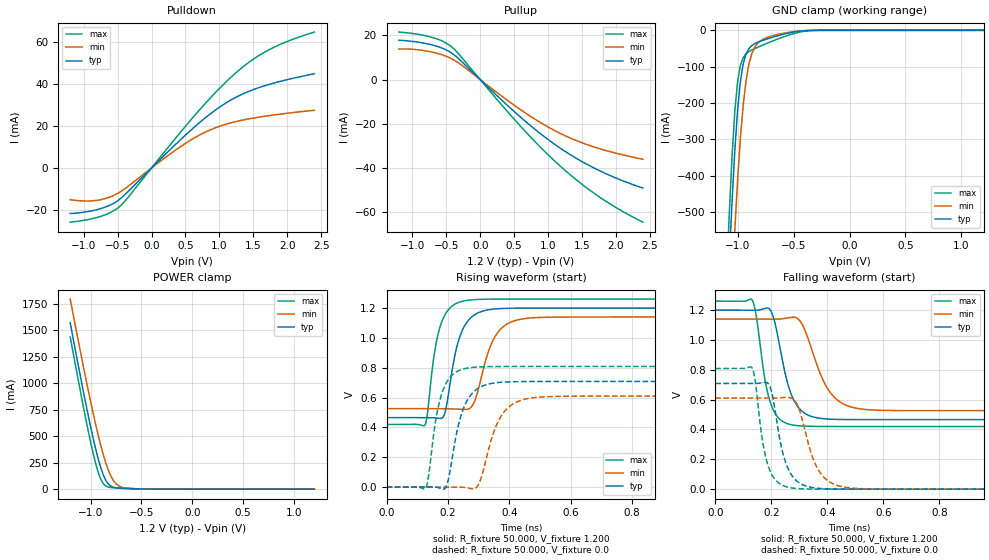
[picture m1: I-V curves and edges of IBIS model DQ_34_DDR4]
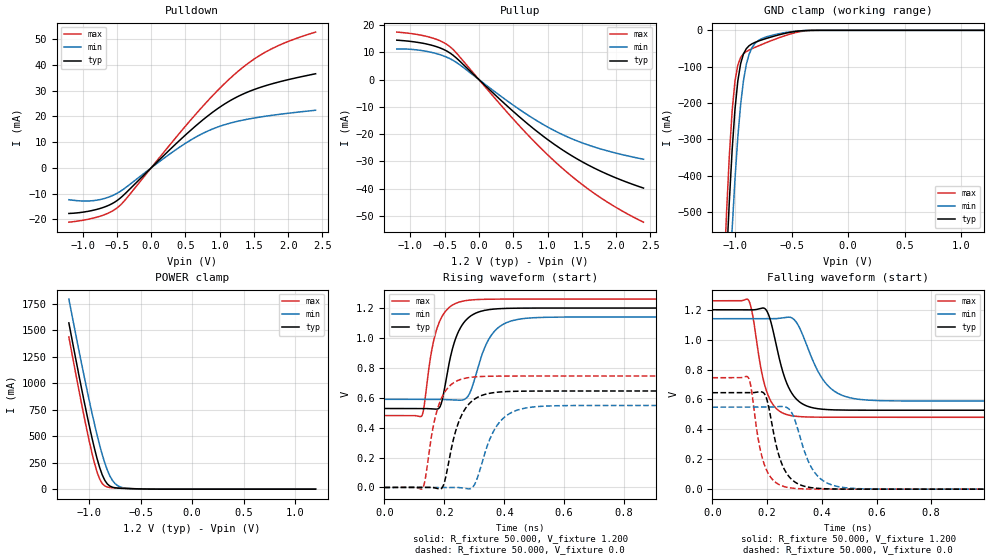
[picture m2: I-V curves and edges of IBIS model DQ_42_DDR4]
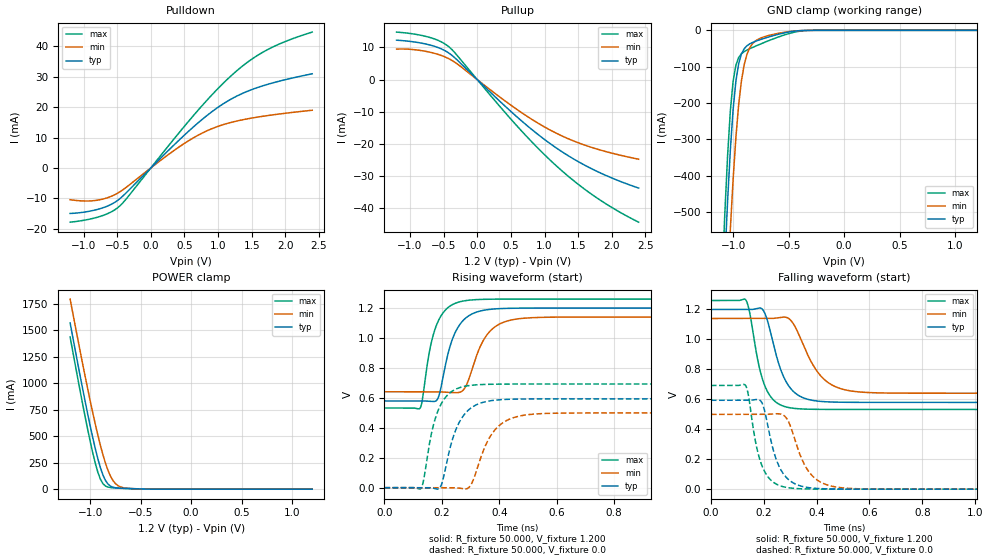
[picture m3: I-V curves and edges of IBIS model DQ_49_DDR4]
[IBIS ver] 5.0
[File name]  t527_ddr4_allwinner.ibs
[File Rev]  1.0
[Date]   May 10, 2022
|   Component IO_DDR4
[Component] IO_DDR4
[Manufacturer] allwinner
[Package]
| variable   typ   min   max
R_pkg   0.0   0.0   0.0
L_pkg   0.0H   0.0H   0.0H
C_pkg   0.0F   0.0F   0.0F
[Pin]  signal_name   model_name   R_pin   L_pin   C_pin
AK33	SA0	CA_DDR4	0.46485	3.05E-09	1.51E-12
AG30	SA1	CA_DDR4	0.29715	2.09E-09	1.18E-12
AJ33	SA2	CA_DDR4	0.41469	2.81E-09	1.29E-12
AL27	SA3	CA_DDR4	0.39476	2.64E-09	1.37E-12
AH25	SA4	CA_DDR4	0.26569	1.83E-09	1.18E-12
AK27	SA5	CA_DDR4	0.32888	2.30E-09	1.35E-12
AN27	SA6	CA_DDR4	0.44924	3.13E-09	1.41E-12
AM33	SA7	CA_DDR4	0.56341	3.55E-09	1.70E-12
AL25	SA8	CA_DDR4	0.37181	2.57E-09	1.30E-12
AJ31	SA9	CA_DDR4	0.35333	2.55E-09	1.35E-12
AG29	SA10	CA_DDR4	0.25993	1.77E-09	1.12E-12
AJ32	SA11	CA_DDR4	0.39611	2.51E-09	1.34E-12
AL31	SA12	CA_DDR4	0.44743	2.77E-09	1.52E-12
AK29	SA13	CA_DDR4	0.35872	2.57E-09	1.27E-12
AM28	SA14	CA_DDR4	0.39678	2.69E-09	1.41E-12
AN29	SA15	CA_DDR4	0.49091	3.23E-09	1.49E-12
AJ27	SA16	CA_DDR4	0.29463	1.99E-09	1.15E-12
AJ30	SA17	CA_DDR4	0.37981	2.66E-09	1.46E-12
AL29	SACT	CA_DDR4	0.39833	2.73E-09	1.39E-12
AK25	SBA0	CA_DDR4	0.30769	2.31E-09	1.27E-12
AJ25	SBA1	CA_DDR4	0.28737	2.13E-09	1.22E-12
AN26	SBG0	CA_DDR4	0.41285	2.93E-09	1.40E-12
AM27	SBG1	CA_DDR4	0.39343	2.72E-09	1.37E-12
AM31	SCKE0	CA_DDR4	0.48683	2.99E-09	1.55E-12
AN30	SCKN	CA_DDR4	0.54668	3.52E-09	1.75E-12
AM30	SCKP	CA_DDR4	0.56055	3.52E-09	1.79E-12
AN32	SCS0	CA_DDR4	0.547	3.48E-09	1.70E-12
AM32	SCS1	CA_DDR4	0.49003	3.16E-09	1.61E-12
AL32	SODT0	CA_DDR4	0.45306	2.93E-09	1.55E-12
AL33	SODT1	CA_DDR4	0.50697	3.45E-09	1.63E-12
AE28	SDQ0	DQ_DDR4	0.17568	1.28E-09	8.75E-13
AE27	SDQ1	DQ_DDR4	0.1304	1.08E-09	7.74E-13
AG32	SDQ2	DQ_DDR4	0.33905	2.32E-09	1.24E-12
AH33	SDQ3	DQ_DDR4	0.39769	2.70E-09	1.33E-12
AE30	SDQ4	DQ_DDR4	0.28178	1.91E-09	1.10E-12
AD32	SDQ5	DQ_DDR4	0.321	2.18E-09	1.25E-12
AE31	SDQ6	DQ_DDR4	0.29187	2.02E-09	1.25E-12
AD33	SDQ7	DQ_DDR4	0.37551	2.47E-09	1.28E-12
AC27	SDQ8	DQ_DDR4	0.14886	1.15E-09	8.01E-13
AC28	SDQ9	DQ_DDR4	0.17895	1.33E-09	8.71E-13
AC30	SDQ10	DQ_DDR4	0.2394	1.64E-09	9.79E-13
AC31	SDQ11	DQ_DDR4	0.28218	1.96E-09	1.10E-12
AA33	SDQ12	DQ_DDR4	0.36554	2.31E-09	1.30E-12
AA31	SDQ13	DQ_DDR4	0.30839	2.01E-09	1.17E-12
AA28	SDQ14	DQ_DDR4	0.15212	1.33E-09	7.90E-13
AA27	SDQ15	DQ_DDR4	0.12387	1.09E-09	8.46E-13
AM25	SDQ16	DQ_DDR4	0.38757	2.65E-09	1.42E-12
AN25	SDQ17	DQ_DDR4	0.42985	2.80E-09	1.31E-12
AH23	SDQ18	DQ_DDR4	0.23213	1.61E-09	1.01E-12
AK23	SDQ19	DQ_DDR4	0.2673	1.84E-09	1.09E-12
AL23	SDQ20	DQ_DDR4	0.31232	2.08E-09	1.19E-12
AM22	SDQ21	DQ_DDR4	0.36632	2.33E-09	1.35E-12
AN21	SDQ22	DQ_DDR4	0.40833	2.68E-09	1.35E-12
AG21	SDQ23	DQ_DDR4	0.19578	1.35E-09	8.93E-13
AG19	SDQ24	DQ_DDR4	0.16051	1.30E-09	9.01E-13
AH19	SDQ25	DQ_DDR4	0.21804	1.52E-09	9.58E-13
AK19	SDQ26	DQ_DDR4	0.30686	2.04E-09	1.15E-12
AL19	SDQ27	DQ_DDR4	0.32712	2.27E-09	1.20E-12
AM21	SDQ28	DQ_DDR4	0.34396	2.30E-09	1.28E-12
AL21	SDQ29	DQ_DDR4	0.3528	2.39E-09	1.25E-12
AK21	SDQ30	DQ_DDR4	0.28636	1.94E-09	1.13E-12
AH21	SDQ31	DQ_DDR4	0.24326	1.59E-09	1.01E-12
AE33	SDQM0	DQ_DDR4	0.34788	2.43E-09	1.21E-12
AC32	SDQM1	DQ_DDR4	0.3269	2.19E-09	1.20E-12
AM24	SDQM2	DQ_DDR4	0.43004	2.77E-09	1.41E-12
AN20	SDQM3	DQ_DDR4	0.40177	2.76E-09	1.35E-12
AF33	SDQS0N	DQ_DDR4	0.39941	2.68E-09	1.37E-12
AF32	SDQS0P	DQ_DDR4	0.38352	2.63E-09	1.39E-12
AB33	SDQS1N	DQ_DDR4	0.39373	2.57E-09	1.37E-12
AB32	SDQS1P	DQ_DDR4	0.37061	2.44E-09	1.35E-12
AN23	SDQS2N	DQ_DDR4	0.42279	2.70E-09	1.46E-12
AM23	SDQS2P	DQ_DDR4	0.4289	2.74E-09	1.46E-12
AN19	SDQS3N	DQ_DDR4	0.43012	2.82E-09	1.45E-12
AM19	SDQS3P	DQ_DDR4	0.43756	2.88E-09	1.47E-12
[Model Selector] DQ_DDR4
DQ_34_DDR4  The driving resistance is set to be 34 ohm
DQ_42_DDR4  The driving resistance is set to be 42 ohm
DQ_49_DDR4  The driving resistance is set to be 49 ohm
DQ_60_DDR4  The driving resistance is set to be 60 ohm
DQ_78_DDR4  The driving resistance is set to be 78 ohm
DQ_136_DDR4  The driving resistance is set to be 136 ohm
DQ_273_DDR4  The driving resistance is set to be 273 ohm
DQ_ODT_34_DDR4  The pullup ODT resistance is set to be 34 ohm
DQ_ODT_42_DDR4  The pullup ODT resistance is set to be 42 ohm
DQ_ODT_60_DDR4  The pullup ODT resistance is set to be 60 ohm
DQ_ODT_78_DDR4  The pullup ODT resistance is set to be 78 ohm
DQ_ODT_136_DDR4 The pullup ODT resistance is set to be 136 ohm
DQ_ODT_273_DDR4 The pullup ODT resistance is set to be 273 ohm
[Model Selector] CA_DDR4
CA_34_DDR4  The driving resistance is set to be 34 ohm
CA_42_DDR4  The driving resistance is set to be 42 ohm
CA_49_DDR4  The driving resistance is set to be 49 ohm
CA_60_DDR4  The driving resistance is set to be 60 ohm
CA_78_DDR4  The driving resistance is set to be 78 ohm
CA_136_DDR4  The driving resistance is set to be 136 ohm
CA_273_DDR4  The driving resistance is set to be 273 ohm
| Models and submodels in the file (20): DQ_34_DDR4 (I/O), DQ_42_DDR4 (I/O), DQ_49_DDR4 (I/O), DQ_60_DDR4 (I/O), DQ_78_DDR4 (I/O), DQ_136_DDR4 (I/O), DQ_273_DDR4 (I/O), DQ_ODT_34_DDR4 (Input), DQ_ODT_42_DDR4 (Input), DQ_ODT_60_DDR4 (Input), DQ_ODT_78_DDR4 (Input), DQ_ODT_136_DDR4 (Input), DQ_ODT_273_DDR4 (Input), CA_34_DDR4 (3-state), CA_42_DDR4 (3-state), CA_49_DDR4 (3-state), CA_60_DDR4 (3-state), CA_78_DDR4 (3-state), CA_136_DDR4 (3-state), CA_273_DDR4 (3-state)
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|   Model DQ_34_DDR4
[Model] DQ_34_DDR4
Model_type I/O
Polarity   Non-Inverting
Enable   Active-Low
Vinl =  0.600V
Vinh =  0.600V
C_comp   1.551pF   1.509pF   1.609pF
C_comp_pullup   0.493pF   0.475pF   0.516pF
C_comp_pulldown   0.794pF   0.769pF   0.830pF
[Model Spec]
Vinh   0.600V   0.570V   0.630V
Vinl   0.600V   0.570V   0.630V
[Temperature Range]   25.000   0.125k   -40.000
[Voltage Range]   1.200V   1.140V   1.260V
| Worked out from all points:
|   slope of the pulldown table from 0 to 0.18 V, typ, clamps not added: 31.1 ohm
|   slope of the pullup table from 0 to 0.18 V, typ, clamps not added: 34 ohm
|   GND clamp passes 1 mA (typ) near -0.40 V on its own axis
|   POWER clamp passes 1 mA (typ) near -0.43 V on its own axis
|   rising waveform, R_fixture 50.000, V_fixture 1.200: 20-80 % time 46.6ps typ, 57.9ps min, 38.9ps max; typ from 0.466 V to 1.2 V
|   rising waveform, R_fixture 50.000, V_fixture 0.0: 20-80 % time 49.4ps typ, 60.7ps min, 41.1ps max; typ from 0 V to 0.708 V
|   falling waveform, R_fixture 50.000, V_fixture 1.200: 20-80 % time 56.2ps typ, 80.3ps min, 43.6ps max; typ from 1.2 V to 0.466 V
|   falling waveform, R_fixture 50.000, V_fixture 0.0: 20-80 % time 48.9ps typ, 63ps min, 39.9ps max; typ from 0.708 V to 0 V
[Pulldown]
|Voltage   I(typ)   I(min)   I(max)
-1.2V     -21.74mA   -15.19mA   -25.92mA
-830mV    -20.11mA   -15.57mA   -23.86mA
-645mV    -18.22mA   -14.23mA   -21.86mA
-497mV    -15.6mA    -12.12mA   -19.12mA
-386mV    -12.5mA    -9.747mA   -15.59mA
206mV     6.617mA    5.073mA    8.322mA
576mV     17.95mA    13.28mA    22.83mA
872mV     25.98mA    18.28mA    33.65mA
1.205V    33.1mA     21.85mA    44.36mA
1.464V    36.98mA    23.63mA    51.14mA
1.723V    39.81mA    24.96mA    56.31mA
2.4V      45mA       27.57mA    64.92mA
[Pullup]
|Voltage   I(typ)   I(min)   I(max)
-1.2V     17.85mA    13.83mA    21.5mA
-967mV    17.17mA    13.64mA    20.74mA
-745mV    15.97mA    12.67mA    19.41mA
-560mV    14.23mA    11.19mA    17.45mA
-449mV    12.54mA    9.849mA    15.49mA
-338mV    9.992mA    7.951mA    12.33mA
587mV     -16.75mA   -13.41mA   -20.81mA
1.142V    -30.19mA   -23.71mA   -38.04mA
1.438V    -35.97mA   -27.8mA    -45.81mA
1.734V    -40.81mA   -30.97mA   -52.55mA
2.067V    -45.3mA    -33.75mA   -59.01mA
2.4V      -49.05mA   -36.01mA   -64.47mA
[GND_clamp]
|Voltage   I(typ)   I(min)   I(max)
-1.2V     -1.58A     -1.767A    -1.488A
-1.1V     -814.7mA   -1.043A    -687.9mA
-1.075V   -635.1mA   -867.9mA   -505.2mA
-1.05V    -470.6mA   -700.9mA   -345.6mA
-1.025V   -328.8mA   -546.4mA   -221.2mA
-1V       -217.3mA   -409.4mA   -139.7mA
-950mV    -91.68mA   -204.1mA   -74.62mA
-925mV    -64.95mA   -138.5mA   -64.4mA
-875mV    -42.32mA   -65.59mA   -54.22mA
-775mV    -27.6mA    -24.67mA   -40.49mA
-475mV    -3.461mA   -2.765mA   -7.117mA
1.2V      0A         0A         0A
[POWER_clamp]
|Voltage   I(typ)   I(min)   I(max)
-1.2V     1.569A     1.794A     1.436A
-1.1V     1.065A     1.299A     923.3mA
-1.025V   705.5mA    943.2mA    559.5mA
-975mV    483.1mA    718.4mA    339.7mA
-925mV    286.3mA    509.5mA    159.2mA
-900mV    203.1mA    413.5mA    94.6mA
-850mV    82.64mA    246mA      29.88mA
-800mV    28.59mA    122.8mA    15.32mA
-725mV    10.03mA    32.68mA    10.49mA
-650mV    6.259mA    9.931mA    7.528mA
-450mV    1.297mA    1.702mA    1.414mA
1.2V      0A         0A         0A
[Ramp]
| variable   typ   min   max
dV/dt_r   0.425/49.421p   0.366/60.840p   0.485/41.289p
dV/dt_f   0.441/56.258p   0.368/80.270p   0.504/43.693p
R_load = 50.000
[Rising Waveform]
R_fixture= 50.000
V_fixture= 1.200
V_fixture_min= 1.140
V_fixture_max= 1.260
|time   V(typ)   V(min)   V(max)
0s        465.8mV    526.1mV    419.8mV
126ps     466.3mV    526.1mV    419.3mV
158ps     463.7mV    525.9mV    924.9mV
184ps     468.7mV    526.1mV    1.128V
226ps     914.7mV    522.6mV    1.23V
253ps     1.076V     519.9mV    1.248V
287ps     1.155V     574.8mV    1.256V
356ps     1.194V     1.016V     1.26V
441ps     1.2V       1.126V     1.26V
2ns       1.2V       1.14V      1.26V
[Rising Waveform]
R_fixture= 50.000
V_fixture= 0.0
V_fixture_min= 0.0
V_fixture_max= 0.0
|time   V(typ)   V(min)   V(max)
0s        2.262uV    51.51uV    169.7nV
127ps     798.5uV    87.41uV    -7.603mV
164ps     -1.605mV   19.83uV    493.7mV
190ps     -9.561mV   711.8uV    679.6mV
235ps     423.4mV    605.6uV    780.2mV
261ps     574.2mV    -4.403mV   796.4mV
301ps     665.6mV    22.96mV    805.2mV
377ps     703.1mV    486.6mV    808.3mV
467ps     707.6mV    595.6mV    808.5mV
2ns       708.2mV    609.8mV    808.5mV
[Falling Waveform]
R_fixture= 50.000
V_fixture= 1.200
V_fixture_min= 1.140
V_fixture_max= 1.260
|time   V(typ)   V(min)   V(max)
0s        1.2V       1.14V      1.26V
132ps     1.199V     1.14V      1.266V
145ps     1.199V     1.14V      1.174V
195ps     1.204V     1.139V     589.5mV
225ps     1.006V     1.139V     478.7mV
271ps     636.3mV    1.152V     431.7mV
312ps     518.7mV    1.098V     422.9mV
408ps     469.3mV    653.7mV    420mV
505ps     466.1mV    541.9mV    419.8mV
2ns       465.8mV    526.1mV    419.8mV
[Falling Waveform]
R_fixture= 50.000
V_fixture= 0.0
V_fixture_min= 0.0
V_fixture_max= 0.0
|time   V(typ)   V(min)   V(max)
0s        708.2mV    609.8mV    808.5mV
132ps     707.6mV    609.7mV    810mV
168ps     714.6mV    609.9mV    329.4mV
189ps     707.4mV    609.3mV    154.1mV
238ps     265.5mV    613.6mV    27.33mV
263ps     124.9mV    614.4mV    11.45mV
296ps     46.77mV    552.2mV    3.645mV
368ps     5.806mV    128.6mV    300.4uV
455ps     476.5uV    15.63mV    14.68uV
2ns       2.265uV    51.49uV    169.6nV
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|   Model DQ_42_DDR4
[Model] DQ_42_DDR4
Model_type I/O
Polarity   Non-Inverting
Enable   Active-Low
Vinl =  0.600V
Vinh =  0.600V
C_comp   1.564pF   1.524pF   1.620pF
C_comp_pullup   0.501pF   0.484pF   0.523pF
C_comp_pulldown   0.799pF   0.775pF   0.832pF
[Model Spec]
Vinh   0.600V   0.570V   0.630V
Vinl   0.600V   0.570V   0.630V
[Temperature Range]   25.000   0.125k   -40.000
[Voltage Range]   1.200V   1.140V   1.260V
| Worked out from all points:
|   slope of the pulldown table from 0 to 0.18 V, typ, clamps not added: 38.3 ohm
|   slope of the pullup table from 0 to 0.18 V, typ, clamps not added: 41.8 ohm
|   GND clamp passes 1 mA (typ) near -0.40 V on its own axis
|   POWER clamp passes 1 mA (typ) near -0.43 V on its own axis
|   rising waveform, R_fixture 50.000, V_fixture 1.200: 20-80 % time 52.4ps typ, 63.9ps min, 44.4ps max; typ from 0.528 V to 1.2 V
|   rising waveform, R_fixture 50.000, V_fixture 0.0: 20-80 % time 55.8ps typ, 67.5ps min, 47.1ps max; typ from 0 V to 0.645 V
|   falling waveform, R_fixture 50.000, V_fixture 1.200: 20-80 % time 62.6ps typ, 88ps min, 49.1ps max; typ from 1.2 V to 0.528 V
|   falling waveform, R_fixture 50.000, V_fixture 0.0: 20-80 % time 54.4ps typ, 68.7ps min, 45ps max; typ from 0.645 V to 0 V
[Pulldown]
|Voltage   I(typ)   I(min)   I(max)
-1.2V     -17.67mA   -12.34mA   -21.06mA
-830mV    -16.34mA   -12.65mA   -19.38mA
-645mV    -14.8mA    -11.56mA   -17.76mA
-497mV    -12.67mA   -9.848mA   -15.54mA
-386mV    -10.16mA   -7.919mA   -12.67mA
206mV     5.376mA    4.121mA    6.762mA
576mV     14.58mA    10.79mA    18.55mA
872mV     21.11mA    14.85mA    27.34mA
1.205V    26.89mA    17.75mA    36.04mA
1.464V    30.05mA    19.2mA     41.55mA
1.723V    32.35mA    20.28mA    45.75mA
2.4V      36.56mA    22.4mA     52.74mA
[Pullup]
|Voltage   I(typ)   I(min)   I(max)
-1.2V     14.5mA     11.24mA    17.47mA
-967mV    13.95mA    11.09mA    16.85mA
-745mV    12.98mA    10.29mA    15.77mA
-560mV    11.56mA    9.095mA    14.18mA
-449mV    10.19mA    8.001mA    12.58mA
-338mV    8.117mA    6.459mA    10.02mA
587mV     -13.61mA   -10.89mA   -16.9mA
1.142V    -24.52mA   -19.26mA   -30.9mA
1.438V    -29.21mA   -22.57mA   -37.21mA
1.734V    -33.14mA   -25.15mA   -42.68mA
2.067V    -36.79mA   -27.4mA    -47.93mA
2.4V      -39.83mA   -29.24mA   -52.36mA
[GND_clamp]
|Voltage   I(typ)   I(min)   I(max)
-1.2V     -1.58A     -1.767A    -1.488A
-1.1V     -814.7mA   -1.043A    -687.9mA
-1.075V   -635.1mA   -867.9mA   -505.2mA
-1.05V    -470.6mA   -700.9mA   -345.6mA
-1.025V   -328.8mA   -546.4mA   -221.2mA
-1V       -217.3mA   -409.4mA   -139.7mA
-950mV    -91.68mA   -204.1mA   -74.62mA
-925mV    -64.95mA   -138.5mA   -64.4mA
-875mV    -42.32mA   -65.59mA   -54.22mA
-775mV    -27.6mA    -24.67mA   -40.49mA
-475mV    -3.461mA   -2.765mA   -7.117mA
1.2V      0A         0A         0A
[POWER_clamp]
|Voltage   I(typ)   I(min)   I(max)
-1.2V     1.569A     1.794A     1.436A
-1.1V     1.065A     1.299A     923.3mA
-1.025V   705.5mA    943.2mA    559.5mA
-975mV    483.1mA    718.4mA    339.7mA
-925mV    286.3mA    509.5mA    159.2mA
-900mV    203.1mA    413.5mA    94.6mA
-850mV    82.64mA    246mA      29.88mA
-800mV    28.59mA    122.8mA    15.32mA
-725mV    10.03mA    32.68mA    10.49mA
-650mV    6.259mA    9.931mA    7.528mA
-450mV    1.297mA    1.702mA    1.414mA
1.2V      0A         0A         0A
[Ramp]
| variable   typ   min   max
dV/dt_r   0.387/55.913p   0.329/67.543p   0.447/47.202p
dV/dt_f   0.403/62.670p   0.330/88.024p   0.468/49.302p
R_load = 50.000
[Rising Waveform]
R_fixture= 50.000
V_fixture= 1.200
V_fixture_min= 1.140
V_fixture_max= 1.260
|time   V(typ)   V(min)   V(max)
0s        528mV      589.6mV    480.8mV
125ps     528.2mV    589.6mV    480.2mV
158ps     525.8mV    589.2mV    919.8mV
182ps     530.2mV    589.3mV    1.1V
230ps     948.7mV    585.2mV    1.223V
265ps     1.102V     587.1mV    1.247V
288ps     1.147V     645.6mV    1.254V
355ps     1.191V     1.013V     1.259V
452ps     1.199V     1.126V     1.26V
2ns       1.2V       1.14V      1.26V
[Rising Waveform]
R_fixture= 50.000
V_fixture= 0.0
V_fixture_min= 0.0
V_fixture_max= 0.0
|time   V(typ)   V(min)   V(max)
0s        2.558uV    57.51uV    194.1nV
128ps     676.4uV    100.9uV    -3.211mV
164ps     -1.319mV   45.36uV    419.1mV
191ps     -5.902mV   599.5uV    599.5mV
239ps     385.6mV    322.8uV    709.9mV
274ps     538.4mV    -8.291mV   732.4mV
302ps     592.5mV    24.15mV    739.4mV
380ps     637.7mV    425.9mV    744.7mV
478ps     644.4mV    533.5mV    745.3mV
2ns       645.2mV    548.5mV    745.3mV
[Falling Waveform]
R_fixture= 50.000
V_fixture= 1.200
V_fixture_min= 1.140
V_fixture_max= 1.260
|time   V(typ)   V(min)   V(max)
0s        1.2V       1.14V      1.26V
133ps     1.199V     1.14V      1.262V
194ps     1.204V     1.139V     679.2mV
229ps     1.002V     1.14V      548.2mV
257ps     788mV      1.146V     509.3mV
284ps     661.6mV    1.15V      493.3mV
316ps     587.5mV    1.089V     485.6mV
412ps     533.2mV    714.1mV    481.2mV
516ps     528.4mV    606.4mV    480.9mV
2ns       528mV      589.6mV    480.8mV
[Falling Waveform]
R_fixture= 50.000
V_fixture= 0.0
V_fixture_min= 0.0
V_fixture_max= 0.0
|time   V(typ)   V(min)   V(max)
0s        645.2mV    548.5mV    745.3mV
132ps     644.7mV    548.5mV    744.2mV
169ps     650.7mV    548.7mV    320.4mV
188ps     642.8mV    548.2mV    175.1mV
203ps     574.1mV    548.4mV    109.1mV
241ps     239.4mV    552.4mV    33.6mV
275ps     96.38mV    543.2mV    11.76mV
369ps     8.287mV    124.5mV    648.4uV
468ps     631.1uV    14.27mV    30.43uV
2ns       2.562uV    57.49uV    191.2nV
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|   Model DQ_49_DDR4
[Model] DQ_49_DDR4
Model_type I/O
Polarity   Non-Inverting
Enable   Active-Low
Vinl =  0.600V
Vinh =  0.600V
C_comp   1.574pF   1.534pF   1.628pF
C_comp_pullup   0.507pF   0.490pF   0.529pF
C_comp_pulldown   0.802pF   0.778pF   0.834pF
[Model Spec]
Vinh   0.600V   0.570V   0.630V
Vinl   0.600V   0.570V   0.630V
[Temperature Range]   25.000   0.125k   -40.000
[Voltage Range]   1.200V   1.140V   1.260V
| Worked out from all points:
|   slope of the pulldown table from 0 to 0.18 V, typ, clamps not added: 45.2 ohm
|   slope of the pullup table from 0 to 0.18 V, typ, clamps not added: 49.4 ohm
|   GND clamp passes 1 mA (typ) near -0.40 V on its own axis
|   POWER clamp passes 1 mA (typ) near -0.43 V on its own axis
|   rising waveform, R_fixture 50.000, V_fixture 1.200: 20-80 % time 57.1ps typ, 68.7ps min, 49.1ps max; typ from 0.58 V to 1.2 V
|   rising waveform, R_fixture 50.000, V_fixture 0.0: 20-80 % time 61.2ps typ, 72.9ps min, 52.2ps max; typ from 0 V to 0.594 V
|   falling waveform, R_fixture 50.000, V_fixture 1.200: 20-80 % time 67.5ps typ, 93.4ps min, 53.6ps max; typ from 1.2 V to 0.58 V
|   falling waveform, R_fixture 50.000, V_fixture 0.0: 20-80 % time 58.7ps typ, 72.9ps min, 49.3ps max; typ from 0.594 V to 0 V
[Pulldown]
|Voltage   I(typ)   I(min)   I(max)
-1.2V     -14.95mA   -10.44mA   -17.82mA
-830mV    -13.82mA   -10.7mA    -16.4mA
-645mV    -12.53mA   -9.784mA   -15.03mA
-497mV    -10.72mA   -8.333mA   -13.15mA
-386mV    -8.597mA   -6.701mA   -10.72mA
206mV     4.549mA    3.487mA    5.722mA
576mV     12.34mA    9.132mA    15.7mA
872mV     17.86mA    12.56mA    23.13mA
1.205V    22.75mA    15.02mA    30.5mA
1.464V    25.42mA    16.24mA    35.15mA
1.723V    27.37mA    17.16mA    38.71mA
2.4V      30.93mA    18.95mA    44.63mA
[Pullup]
|Voltage   I(typ)   I(min)   I(max)
-1.2V     12.27mA    9.507mA    14.79mA
-967mV    11.8mA     9.38mA     14.26mA
-745mV    10.98mA    8.711mA    13.34mA
-560mV    9.785mA    7.696mA    12mA
-449mV    8.624mA    6.77mA     10.65mA
-338mV    6.869mA    5.465mA    8.474mA
587mV     -11.51mA   -9.217mA   -14.3mA
1.142V    -20.75mA   -16.29mA   -26.14mA
1.438V    -24.72mA   -19.1mA    -31.48mA
1.734V    -28.04mA   -21.28mA   -36.11mA
2.067V    -31.13mA   -23.18mA   -40.55mA
2.4V      -33.7mA    -24.74mA   -44.3mA
[GND_clamp]
|Voltage   I(typ)   I(min)   I(max)
-1.2V     -1.58A     -1.767A    -1.488A
-1.1V     -814.7mA   -1.043A    -687.9mA
-1.075V   -635.1mA   -867.9mA   -505.2mA
-1.05V    -470.6mA   -700.9mA   -345.6mA
-1.025V   -328.8mA   -546.4mA   -221.2mA
-1V       -217.3mA   -409.4mA   -139.7mA
-950mV    -91.68mA   -204.1mA   -74.62mA
-925mV    -64.95mA   -138.5mA   -64.4mA
-875mV    -42.32mA   -65.59mA   -54.22mA
-775mV    -27.6mA    -24.67mA   -40.49mA
-475mV    -3.461mA   -2.765mA   -7.117mA
1.2V      0A         0A         0A
[POWER_clamp]
|Voltage   I(typ)   I(min)   I(max)
-1.2V     1.569A     1.794A     1.436A
-1.1V     1.065A     1.299A     923.3mA
-1.025V   705.5mA    943.2mA    559.5mA
-975mV    483.1mA    718.4mA    339.7mA
-925mV    286.3mA    509.5mA    159.2mA
-900mV    203.1mA    413.5mA    94.6mA
-850mV    82.64mA    246mA      29.88mA
-800mV    28.59mA    122.8mA    15.32mA
-725mV    10.03mA    32.68mA    10.49mA
-650mV    6.259mA    9.931mA    7.528mA
-450mV    1.297mA    1.702mA    1.414mA
1.2V      0A         0A         0A
[Ramp]
| variable   typ   min   max
dV/dt_r   0.356/61.246p   0.300/72.965p   0.416/52.294p
dV/dt_f   0.372/67.587p   0.300/93.442p   0.437/53.794p
R_load = 50.000
[Rising Waveform]
R_fixture= 50.000
V_fixture= 1.200
V_fixture_min= 1.140
V_fixture_max= 1.260
|time   V(typ)   V(min)   V(max)
0s        579.5mV    640.8mV    532.4mV
125ps     579.7mV    640.8mV    534.1mV
158ps     577.3mV    640.7mV    922.5mV
182ps     583.9mV    640.7mV    1.089V
193ps     636.7mV    640mV      1.135V
232ps     966mV      636.1mV    1.218V
274ps     1.117V     650.9mV    1.247V
358ps     1.189V     1.023V     1.259V
459ps     1.199V     1.126V     1.26V
2ns       1.2V       1.14V      1.26V
[Rising Waveform]
R_fixture= 50.000
V_fixture= 0.0
V_fixture_min= 0.0
V_fixture_max= 0.0
|time   V(typ)   V(min)   V(max)
0s        2.803uV    62.35uV    214.6nV
128ps     591.5uV    107uV      -2.487mV
165ps     -1.41mV    32.77uV    373.8mV
191ps     -4.903mV   539.4uV    533.8mV
243ps     358.5mV    29.72uV    652.8mV
284ps     502.1mV    -8.043mV   678.9mV
305ps     537.1mV    32.31mV    684.6mV
380ps     583.4mV    374.4mV    691.3mV
488ps     592.6mV    484.6mV    692.5mV
2ns       593.6mV    499.5mV    692.5mV
[Falling Waveform]
R_fixture= 50.000
V_fixture= 1.200
V_fixture_min= 1.140
V_fixture_max= 1.260
|time   V(typ)   V(min)   V(max)
0s        1.2V       1.14V      1.26V
133ps     1.2V       1.14V      1.261V
146ps     1.199V     1.14V      1.185V
194ps     1.203V     1.14V      741mV
233ps     994.4mV    1.14V      602.7mV
263ps     804.2mV    1.147V     562.8mV
294ps     690.7mV    1.141V     545.2mV
412ps     586.7mV    764.1mV    532.9mV
525ps     580mV      657.4mV    532.4mV
2ns       579.5mV    640.8mV    532.4mV
[Falling Waveform]
R_fixture= 50.000
V_fixture= 0.0
V_fixture_min= 0.0
V_fixture_max= 0.0
|time   V(typ)   V(min)   V(max)
0s        593.6mV    499.5mV    692.5mV
131ps     593.2mV    499.4mV    692.9mV
142ps     593.4mV    499.5mV    625.4mV
170ps     598.6mV    499.5mV    305.6mV
188ps     589.9mV    499.2mV    181.9mV
244ps     214.9mV    503.5mV    37.27mV
283ps     82.82mV    480.9mV    12.44mV
372ps     9.806mV    113.4mV    1.012mV
479ps     756.2uV    12.8mV     49.98uV
2ns       2.808uV    62.32uV    211.5nV
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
